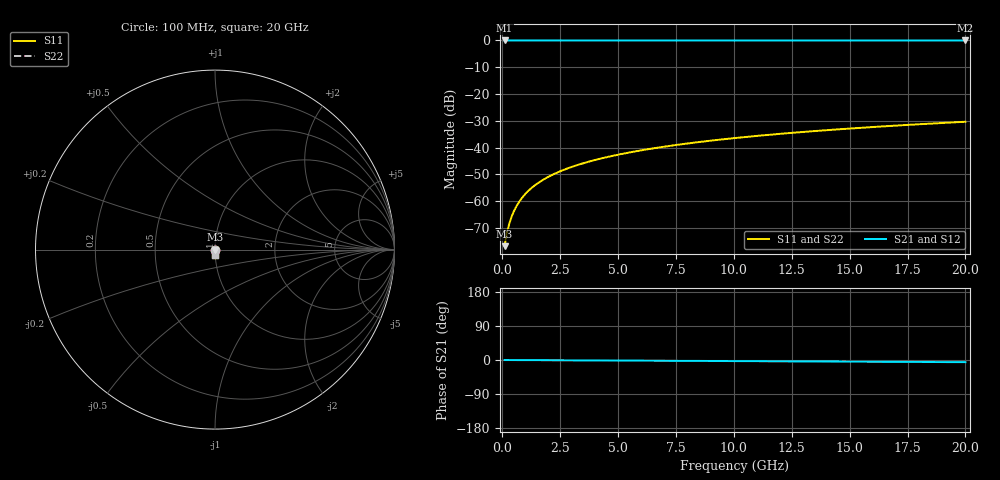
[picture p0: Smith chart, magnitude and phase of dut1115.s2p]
! Touchstone file exported from HFSS 2026.1.0
!  File:  C:/ffzhzh/LocalFiles/Ansys_Project_Files/temp_train_TSV_1115_1783190837_51560.aedt
!  Generated:  02:48:34 AM Jul  5, 2026
!  Design:  TSV
!  Project:  temp_train_TSV_1115_1783190837_51560
! Variables:
!  h_bsmrdl = 2um
!  h_ox = 20um
!  h_rdl = 5um
!  h_sub = 54.7um
!  h_tmrdl = 5um
!  h_tsv = 54.7um
!  h_via = 3um
!  l_bsmrdl = 300um
!  l_sub = 422.92um
!  l_tmrdl = 200um
!  m_sub = 200um
!  pitch = 34.83um
!  r_tsv = 11.46um
!  s_tmrdl = 10um
!  w_bsmrdl = 18um
!  w_sub = 500um
!  w_tmrdl = 12um
!  x_tsv_center1 = 206um
!  x_tsv_center2 = 524um
!  x_tsv_center3 = 736um
!  x_tsv_center4 = 1054um
!  x_tsv_center5 = 1266um
!  x_tsv_center6 = 1584um
# GHz S MA R 50.000000
! Terminal data exported
! Port[1] = TSV1_1_T1
! Port[2] = TSV1_1_T2
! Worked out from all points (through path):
!   200 points, 100 MHz to 20 GHz, reference 50 ohm
!   highest |S21| = 0.00 dB at 100 MHz (marker M1); lowest = 0.0 dB at 20 GHz (marker M2)
!   lowest |S11| = -76.8 dB at 100 MHz (marker M3), VSWR 1.00, Z = 50 - j0.0117 ohm
!   |S11| at or under -10 dB: start of sweep to end of sweep
!   |S22| runs from -76.8 to -30.4 dB; largest |S21 - S12| = 4.6e-15
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0.1  0.0001445 -54.2  0.9999 -0.0  0.9999 -0.0  0.0001445 -54.2
! Gamma 0 0 0 0
! Port Impedance 50 0 50 0
0.2  0.0002556 -68.1  0.9999 -0.1  0.9999 -0.1  0.0002556 -68.1
0.3  0.0003788 -72.9  0.9999 -0.1  0.9999 -0.1  0.0003788 -72.9
0.4  0.0005093 -75.3  0.9999 -0.1  0.9999 -0.1  0.0005093 -75.3
0.5  0.0006457 -76.7  0.9998 -0.2  0.9998 -0.2  0.0006457 -76.7
0.7  0.0009301 -78.7  0.9998 -0.2  0.9998 -0.2  0.0009301 -78.7
0.8  0.001076 -79.4  0.9998 -0.2  0.9998 -0.2  0.001076 -79.4
1  0.001372 -80.7  0.9998 -0.3  0.9998 -0.3  0.001372 -80.7
1.2  0.00167 -81.7  0.9997 -0.4  0.9997 -0.4  0.00167 -81.7
1.4  0.001968 -82.6  0.9997 -0.4  0.9997 -0.4  0.001968 -82.6
1.7  0.002416 -83.6  0.9997 -0.5  0.9997 -0.5  0.002416 -83.6
2  0.002864 -84.4  0.9997 -0.6  0.9997 -0.6  0.002864 -84.4
2.7  0.00391 -85.7  0.9996 -0.8  0.9996 -0.8  0.00391 -85.7
3.5  0.005108 -86.6  0.9996 -1.0  0.9996 -1.0  0.005108 -86.6
4.2  0.006162 -87.2  0.9996 -1.2  0.9996 -1.2  0.006162 -87.2
5  0.007372 -87.8  0.9995 -1.4  0.9995 -1.4  0.007372 -87.8
6.8  0.01011 -88.8  0.9994 -2.0  0.9994 -2.0  0.01011 -88.8
8.3  0.0124 -89.6  0.9993 -2.4  0.9993 -2.4  0.0124 -89.6
10.1  0.01516 -90.4  0.9992 -2.9  0.9992 -2.9  0.01516 -90.4
13.4  0.02022 -91.7  0.999 -3.9  0.999 -3.9  0.02022 -91.7
16.7  0.02529 -92.8  0.9988 -4.8  0.9988 -4.8  0.02529 -92.8
20  0.03037 -93.9  0.9986 -5.7  0.9986 -5.7  0.03037 -93.9
